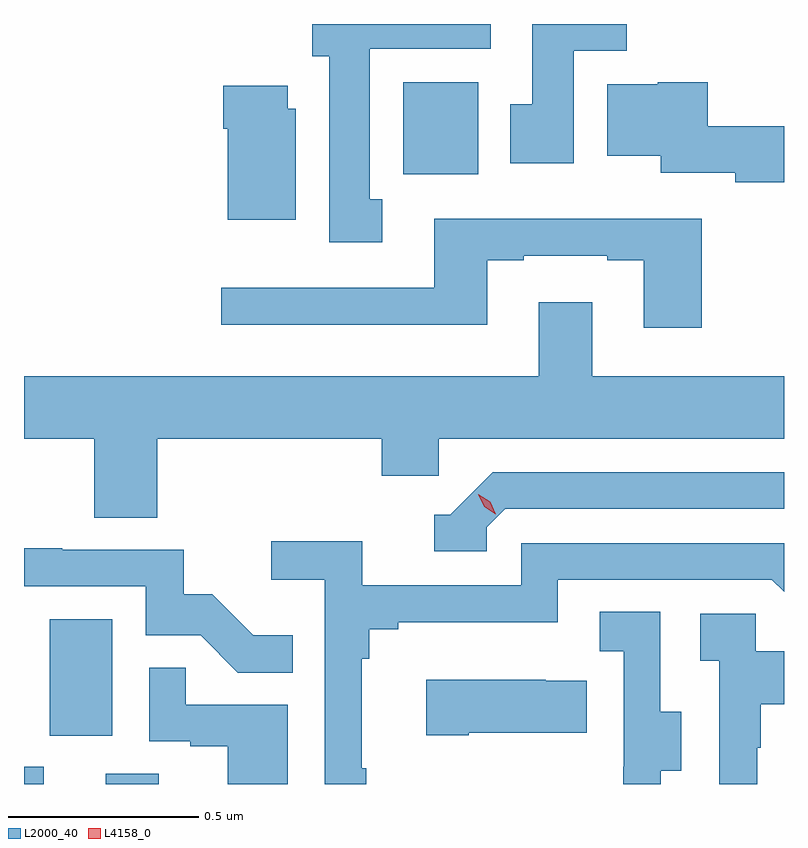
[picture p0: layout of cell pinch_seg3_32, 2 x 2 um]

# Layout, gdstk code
import gdstk
lib = gdstk.Library(unit=1e-6, precision=1e-09)
def R(c, l, rs):  # rectangles x0, y0, x1, y1
    for r in rs: c.add(gdstk.rectangle(r[:2], r[2:], *l))
def P(c, l, *ps):  # polygons
    for p in ps: c.add(gdstk.Polygon(p, *l))
L2000_40 = (2000, 40)
L4158_0 = (4158, 0)

pinch_seg3_32 = lib.new_cell('pinch_seg3_32')
R(pinch_seg3_32, L2000_40, [(1097.43,745.295,1097.482,745.341), (1097.645,745.295,1097.785,745.322), (1097.498,745.422,1097.662,745.729), (1098.428,746.9,1098.625,747.142)])
P(pinch_seg3_32, L2000_40, [(1098.373,746.834),(1098.34,746.834),(1098.34,747.23),(1098.658,747.23),(1098.658,747.295),(1098.188,747.295),(1098.188,747.21),(1098.233,747.21),(1098.233,746.721),(1098.373,746.721)],
  [(1098.877,747.224),(1099.016,747.224),(1099.016,747.295),(1098.767,747.295),(1098.767,747.084),(1098.71,747.084),(1098.71,746.928),(1098.877,746.928)],
  [(1099.43,747.026),(1099.229,747.026),(1099.229,747.142),(1099.098,747.142),(1099.098,747.136),(1098.965,747.136),(1098.965,746.948),(1099.106,746.948),(1099.106,746.903),(1099.302,746.903),(1099.302,746.879),(1099.43,746.879)],
  [(1098.145,747.072),(1098.124,747.072),(1098.124,747.133),(1097.954,747.133),(1097.954,747.02),(1097.966,747.02),(1097.966,746.78),(1098.145,746.78)],
  [(1099.214,746.782),(1098.509,746.782),(1098.509,746.601),(1097.949,746.601),(1097.949,746.504),(1098.649,746.504),(1098.649,746.673),(1098.745,746.673),(1098.745,746.685),(1098.965,746.685),(1098.965,746.673),(1099.061,746.673),(1099.061,746.496),(1099.214,746.496)],
  [(1097.78,746.204),(1098.371,746.204),(1098.371,746.106),(1098.522,746.106),(1098.522,746.204),(1099.43,746.204),(1099.43,746.368),(1098.925,746.368),(1098.925,746.563),(1098.785,746.563),(1098.785,746.368),(1097.43,746.368),(1097.43,746.204),(1097.615,746.204),(1097.615,745.996),(1097.78,745.996)],
  [(1098.648,745.971),(1098.696,746.019),(1099.43,746.019),(1099.43,746.115),(1098.663,746.115),(1098.552,746.004),(1098.509,746.004),(1098.509,745.908),(1098.648,745.908)],
  [(1098.331,745.337),(1098.319,745.337),(1098.319,745.625),(1098.338,745.625),(1098.338,745.702),(1098.415,745.702),(1098.415,745.721),(1098.834,745.721),(1098.834,745.833),(1099.398,745.833),(1099.43,745.801),(1099.43,745.929),(1098.738,745.929),(1098.738,745.818),(1098.32,745.818),(1098.32,745.934),(1098.081,745.934),(1098.081,745.832),(1098.222,745.832),(1098.222,745.295),(1098.331,745.295)],
  [(1098.137,745.687),(1098.033,745.687),(1097.926,745.794),(1097.85,745.794),(1097.85,745.911),(1097.531,745.911),(1097.531,745.916),(1097.43,745.916),(1097.43,745.815),(1097.751,745.815),(1097.751,745.686),(1097.895,745.686),(1097.993,745.588),(1098.137,745.588)],
  [(1099.105,745.33),(1099.159,745.33),(1099.159,745.485),(1099.104,745.485),(1099.104,745.748),(1098.945,745.748),(1098.945,745.645),(1099.008,745.645),(1099.008,745.341),(1099.007,745.341),(1099.007,745.295),(1099.105,745.295)],
  [(1099.359,745.391),(1099.369,745.391),(1099.369,745.505),(1099.43,745.505),(1099.43,745.645),(1099.356,745.645),(1099.356,745.743),(1099.209,745.743),(1099.209,745.619),(1099.26,745.619),(1099.26,745.295),(1099.359,745.295)],
  [(1098.124,745.503),(1097.855,745.503),(1097.855,745.601),(1097.76,745.601),(1097.76,745.407),(1097.867,745.407),(1097.867,745.395),(1097.966,745.395),(1097.966,745.295),(1098.124,745.295)],
  [(1098.601,745.43),(1098.911,745.43),(1098.911,745.567),(1098.803,745.567),(1098.803,745.57),(1098.489,745.57),(1098.489,745.423),(1098.601,745.423)])
P(pinch_seg3_32, L4158_0, [(1098.672,746.005),(1098.641,746.025),(1098.626,746.058),(1098.626,746.058),(1098.626,746.058),(1098.657,746.038),(1098.672,746.005),(1098.672,746.005)])

lib.write_gds('pinch_seg3_32.gds')
